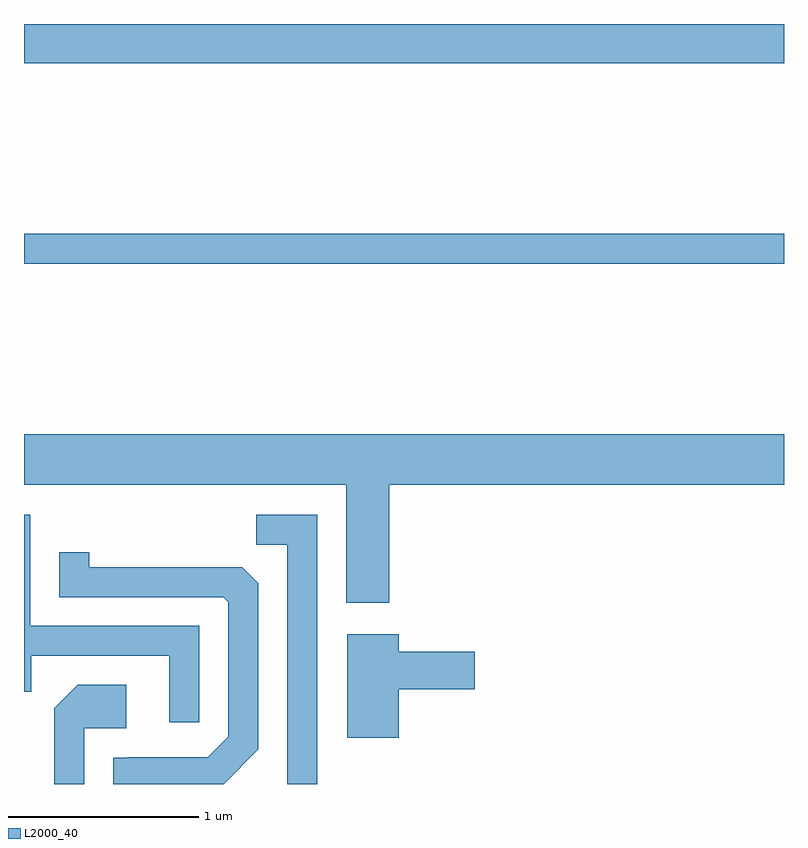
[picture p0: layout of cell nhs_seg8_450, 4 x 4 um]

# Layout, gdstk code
import gdstk
lib = gdstk.Library(unit=1e-6, precision=1e-09)
def R(c, l, rs):  # rectangles x0, y0, x1, y1
    for r in rs: c.add(gdstk.rectangle(r[:2], r[2:], *l))
def P(c, l, *ps):  # polygons
    for p in ps: c.add(gdstk.Polygon(p, *l))
L2000_40 = (2000, 40)

nhs_seg8_450 = lib.new_cell('nhs_seg8_450')
R(nhs_seg8_450, L2000_40, [(197.611,1893.081,201.611,1893.239), (197.611,1894.136,201.611,1894.342)])
P(nhs_seg8_450, L2000_40, [(199.534,1891.916),(201.611,1891.916),(201.611,1892.184),(197.611,1892.184),(197.611,1891.916),(199.306,1891.916),(199.306,1891.296),(199.534,1891.296)],
  [(198.534,1891.174),(197.644,1891.174),(197.644,1891.759),(197.611,1891.759),(197.611,1890.828),(197.649,1890.828),(197.649,1891.016),(198.376,1891.016),(198.376,1890.668),(198.534,1890.668)],
  [(199.154,1891.759),(198.833,1891.759),(198.833,1891.601),(198.996,1891.601),(198.996,1890.342),(199.154,1890.342)],
  [(198.844,1890.524),(198.844,1891.399),(198.759,1891.484),(197.954,1891.484),(197.954,1891.563),(197.796,1891.563),(197.796,1891.326),(198.659,1891.326),(198.686,1891.299),(198.686,1890.592),(198.579,1890.484),(198.154,1890.484),(198.149,1890.479),(198.081,1890.479),(198.081,1890.342),(198.662,1890.342)],
  [(199.584,1890.841),(199.984,1890.841),(199.984,1891.039),(199.584,1891.039),(199.584,1891.129),(199.311,1891.129),(199.311,1890.586),(199.584,1890.586)],
  [(197.929,1890.636),(198.149,1890.636),(198.149,1890.864),(197.894,1890.864),(197.771,1890.742),(197.771,1890.342),(197.929,1890.342)])

lib.write_gds('nhs_seg8_450.gds')
